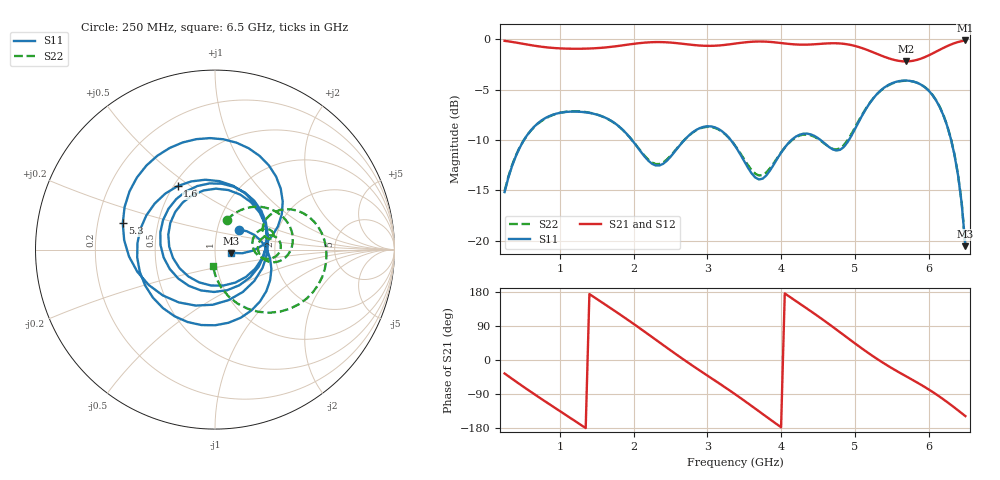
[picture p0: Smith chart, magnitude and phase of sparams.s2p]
! NobuRF pozar-ex5.6-binomial: ports 1 "p1", 2 "p2"; 18300 + 17700 steps
# GHz S RI R 50
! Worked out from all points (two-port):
!   126 points, 250 MHz to 6.5 GHz, reference 50 ohm
!   highest |S21| = -0.11 dB at 6.5 GHz (marker M1); lowest = -2.2 dB at 5.7 GHz (marker M2)
!   |S21| within 3 dB of the highest: start of sweep to end of sweep
!   lowest |S11| = -20.6 dB at 6.5 GHz (marker M3), VSWR 1.21, Z = 60.1 - j2.22 ohm
!   |S11| at or under -10 dB: 1.976 GHz to 2.69 GHz (714 MHz wide, 30.6 % of centre); 3.316 GHz to 4.142 GHz (825.9 MHz wide, 22.1 % of centre); 4.534 GHz to 4.92 GHz (386 MHz wide, 8.17 % of centre)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
!   |S22| runs from -20.6 to -4.1 dB; largest |S21 - S12| = 0.0016
!   S11 on the Smith chart (normalised r, x): 250 MHz: 1.27, +0.29; 1.6 GHz: 0.52, +0.45; 5.3 GHz: 0.31, +0.13; 6.5 GHz: 1.20, -0.04
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0.25  0.1345 0.1105  0.8001 -0.5717  0.801 -0.5723  0.0648 0.1639
0.7  0.2514 -0.2884  -0.1013 -0.9192  -0.1014 -0.9189  0.3055 0.2268
1  -0.1523 -0.4036  -0.6364 -0.6396  -0.6363 -0.6397  0.4036 0.1518
1.3  -0.4334 -0.045  -0.8925 -0.106  -0.8926 -0.1061  0.4336 0.059
1.6  -0.2086 0.3535  -0.7743 0.4794  -0.7742 0.4796  0.4094 -0.0242
2  0.2839 0.1202  -0.0866 0.9462  -0.0866 0.946  0.3013 -0.0675
2.35  -0.00529 -0.236  0.667 0.7038  0.667 0.7041  0.2394 0.016
2.8  -0.2591 0.2277  0.9065 -0.2437  0.9062 -0.244  0.3365 0.0713
3.1  0.1055 0.35  0.5479 -0.7514  0.548 -0.7509  0.3631 -0.00527
3.4  0.2859 0.0163  -0.0584 -0.9538  -0.0584 -0.9545  0.2837 -0.0517
3.65  0.0463 -0.2004  -0.6049 -0.765  -0.6054 -0.7645  0.2148 0.00164
3.95  -0.2552 0.0164  -0.9507 -0.1581  -0.9498 -0.1584  0.2378 0.0997
4.25  -0.0624 0.3298  -0.808 0.4838  -0.8089 0.4838  0.3162 0.1032
4.45  0.201 0.2636  -0.5071 0.7979  -0.5068 0.7988  0.3213 0.0678
4.65  0.291 -0.0218  -0.0782 0.9526  -0.0773 0.9519  0.284 0.0677
4.9  -0.0129 -0.3073  0.4927 0.8064  0.4915 0.806  0.2744 0.1533
5.3  -0.514 0.1465  0.8462 0.046  0.8473 0.0456  0.4944 0.2014
5.5  -0.3825 0.4681  0.7427 -0.2885  0.7418 -0.2895  0.5949 0.0915
5.7  -0.1045 0.6153  0.5637 -0.5346  0.5627 -0.5335  0.6192 -0.0673
6.1  0.3664 0.3389  -0.00126 -0.868  -0.00116 -0.8692  0.362 -0.3456
6.35  0.2674 0.0254  -0.5531 -0.7812  -0.554 -0.7801  0.0745 -0.2598
6.5  0.0919 -0.0183  -0.8385 -0.5223  -0.8376 -0.5209  -0.0117 -0.093
